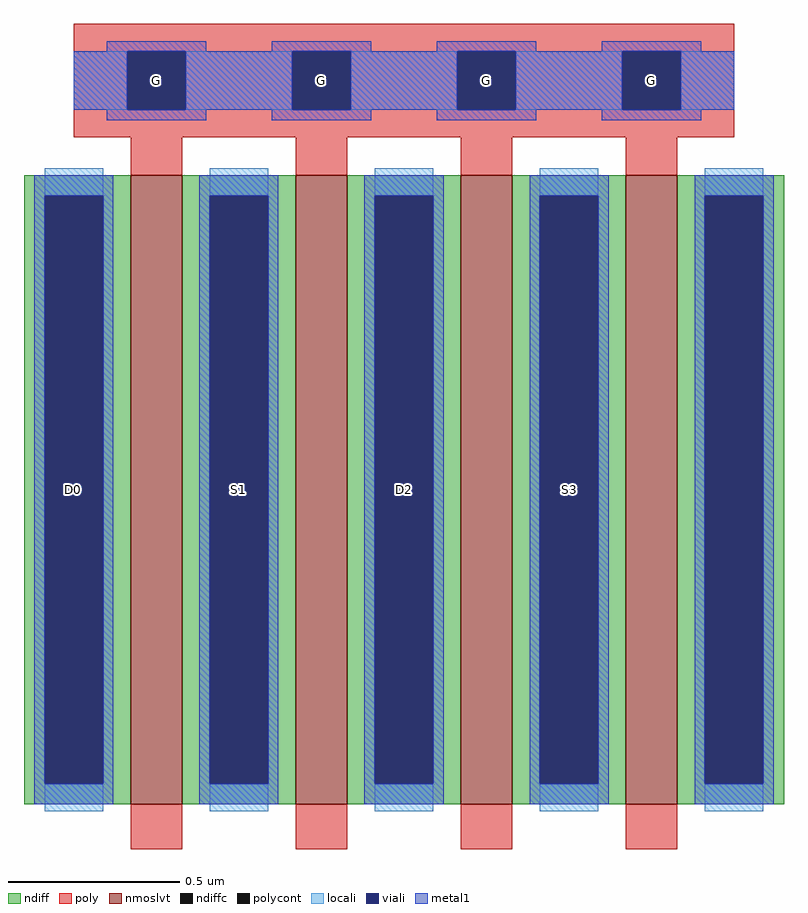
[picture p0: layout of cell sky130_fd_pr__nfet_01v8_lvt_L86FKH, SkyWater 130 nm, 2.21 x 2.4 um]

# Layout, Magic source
magic
tech sky130A
magscale 1 2
<< nmoslvt >>
rect -159 -214 -129 152
rect -63 -214 -33 152
rect 33 -214 63 152
rect 129 -214 159 152
<< ndiff >>
rect -221 140 -159 152
rect -221 -202 -209 140
rect -175 -202 -159 140
rect -221 -214 -159 -202
rect -129 140 -63 152
rect -129 -202 -113 140
rect -79 -202 -63 140
rect -129 -214 -63 -202
rect -33 140 33 152
rect -33 -202 -17 140
rect 17 -202 33 140
rect -33 -214 33 -202
rect 63 140 129 152
rect 63 -202 79 140
rect 113 -202 129 140
rect 63 -214 129 -202
rect 159 140 221 152
rect 159 -202 175 140
rect 209 -202 221 140
rect 159 -214 221 -202
<< ndiffc >>
rect -209 -202 -175 140
rect -113 -202 -79 140
rect -17 -202 17 140
rect 79 -202 113 140
rect 175 -202 209 140
<< poly >>
rect -192 224 192 240
rect -192 190 -161 224
rect -127 190 -65 224
rect -31 190 31 224
rect 65 190 127 224
rect 161 190 192 224
rect -192 174 192 190
rect -159 152 -129 174
rect -63 152 -33 174
rect 33 152 63 174
rect 129 152 159 174
rect -159 -240 -129 -214
rect -63 -240 -33 -214
rect 33 -240 63 -214
rect 129 -240 159 -214
<< polycont >>
rect -161 190 -127 224
rect -65 190 -31 224
rect 31 190 65 224
rect 127 190 161 224
<< locali >>
rect -192 190 -161 224
rect -127 190 -65 224
rect -31 190 31 224
rect 65 190 127 224
rect 161 190 192 224
rect -209 140 -175 156
rect -209 -218 -175 -202
rect -113 140 -79 156
rect -113 -218 -79 -202
rect -17 140 17 156
rect -17 -218 17 -202
rect 79 140 113 156
rect 79 -218 113 -202
rect 175 140 209 156
rect 175 -218 209 -202
<< viali >>
rect -161 190 -127 224
rect -65 190 -31 224
rect 31 190 65 224
rect 127 190 161 224
rect -209 -202 -175 140
rect -113 -202 -79 140
rect -17 -202 17 140
rect 79 -202 113 140
rect 175 -202 209 140
<< metal1 >>
rect -173 224 -115 230
rect -77 224 -19 230
rect 19 224 77 230
rect 115 224 173 230
rect -192 190 -161 224
rect -127 190 -65 224
rect -31 190 31 224
rect 65 190 127 224
rect 161 190 192 224
rect -173 184 -115 190
rect -77 184 -19 190
rect 19 184 77 190
rect 115 184 173 190
rect -215 140 -169 152
rect -215 -202 -209 140
rect -175 -202 -169 140
rect -215 -214 -169 -202
rect -119 140 -73 152
rect -119 -202 -113 140
rect -79 -202 -73 140
rect -119 -214 -73 -202
rect -23 140 23 152
rect -23 -202 -17 140
rect 17 -202 23 140
rect -23 -214 23 -202
rect 73 140 119 152
rect 73 -202 79 140
rect 113 -202 119 140
rect 73 -214 119 -202
rect 169 140 215 152
rect 169 -202 175 140
rect 209 -202 215 140
rect 169 -214 215 -202
<< labels >>
rlabel ndiffc -192 -31 -192 -31 0 D0
port 1 nsew
rlabel polycont -144 207 -144 207 0 G
port 2 nsew
rlabel ndiffc -96 -31 -96 -31 0 S1
port 3 nsew
rlabel polycont -48 207 -48 207 0 G
port 2 nsew
rlabel ndiffc 0 -31 0 -31 0 D2
port 4 nsew
rlabel polycont 48 207 48 207 0 G
port 2 nsew
rlabel ndiffc 96 -31 96 -31 0 S3
port 5 nsew
rlabel polycont 144 207 144 207 0 G
port 2 nsew
<< properties >>
string gencell sky130_fd_pr__nfet_01v8_lvt
string library sky130
string parameters w 1.825 l 0.150 m 1 nf 4 diffcov 100 polycov 100 guard 0 glc 1 grc 1 gtc 1 gbc 1 tbcov 100 rlcov 100 topc 1 botc 0 poverlap 0 doverlap 1 lmin 0.15 wmin 0.42 class mosfet compatible {sky130_fd_pr__nfet_01v8 sky130_fd_pr__nfet_01v8_lvt  sky130_fd_bs_flash__special_sonosfet_star  sky130_fd_pr__nfet_g5v0d10v5 sky130_fd_pr__nfet_05v0_nvt  sky130_fd_pr__nfet_03v3_nvt} full_metal 0 conn_gates 1 viasrc 100 viadrn 100 viagate 100 viagb 0 viagr 0 viagl 0 viagt 0 doports 1
<< end >>
